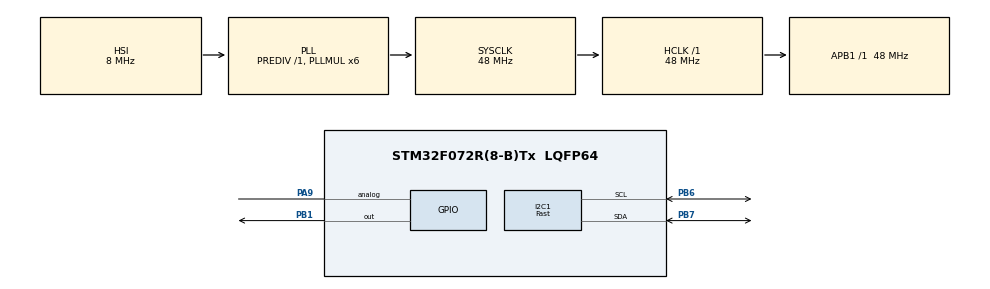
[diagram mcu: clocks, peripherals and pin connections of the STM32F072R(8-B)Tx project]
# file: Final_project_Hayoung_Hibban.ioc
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I2C1.I2C_Speed_Mode=I2C_Fast
I2C1.Timing=0x0000020B
Mcu.Family=STM32F0
Mcu.Name=STM32F072R(8-B)Tx
Mcu.Package=LQFP64
PA13.Mode=Serial_Wire
PA13.Signal=SYS_SWDIO
PA14.Mode=Serial_Wire
PA14.Signal=SYS_SWCLK
PA9.Signal=GPIO_Analog
PB1.Signal=GPIO_Output
PB6.Mode=I2C
PB6.Signal=I2C1_SCL
PB7.Mode=I2C
PB7.Signal=I2C1_SDA
PF0-OSC_IN.Mode=HSE-External-Oscillator
PF0-OSC_IN.Signal=RCC_OSC_IN
PF1-OSC_OUT.Mode=HSE-External-Oscillator
PF1-OSC_OUT.Signal=RCC_OSC_OUT
ProjectManager.HeapSize=0x200
ProjectManager.StackSize=0x400
ProjectManager.TargetToolchain=STM32CubeIDE
RCC.AHBFreq_Value=48000000
RCC.APB1Freq_Value=48000000
RCC.APB1TimFreq_Value=48000000
RCC.HCLKFreq_Value=48000000
RCC.PLLMUL=RCC_PLL_MUL6
RCC.SYSCLKFreq_VALUE=48000000
RCC.SYSCLKSource=RCC_SYSCLKSOURCE_PLLCLK
TIM1.Prescaler=47
VP_TIM1_VS_ClockSourceINT.Mode=Internal
board=STM32F072B-DISCO

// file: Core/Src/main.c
/* USER CODE BEGIN Header */
/**
  ******************************************************************************
  * @file           : main.c
  * @brief          : Main program body
  ******************************************************************************
  * @attention
  *
  * Copyright (c) 2022 STMicroelectronics.
  * All rights reserved.
  *
  * This software is licensed under terms that can be found in the LICENSE file
  * in the root directory of this software component.
  * If no LICENSE file comes with this software, it is provided AS-IS.
  *
  ******************************************************************************
  */
/* USER CODE END Header */
#include "main.h"

/* USER CODE BEGIN Includes */
#include "fonts.h"
#include "ssd1306.h"
#include "stdio.h"
/* USER CODE END Includes */

 I2C_HandleTypeDef hi2c1;

TIM_HandleTypeDef htim1;

/* USER CODE BEGIN PV */
#define GAS_PIN GPIO_PIN_9
#define GAS_PORT GPIOA
uint32_t pMillis;
uint32_t Value1 = 0;

uint16_t GAS  = 0;  // cm
char strCopy[15];
/* USER CODE END PV */

void SystemClock_Config(void);
static void MX_GPIO_Init(void);
static void MX_I2C1_Init(void);
static void MX_TIM1_Init(void);

int main(void)
{

  /* MCU Configuration--------------------------------------------------------*/

  /* Reset of all peripherals, Initializes the Flash interface and the Systick. */
  HAL_Init();

  /* Configure the system clock */
  SystemClock_Config();

  /* Initialize all configured peripherals */
  MX_GPIO_Init();
  MX_I2C1_Init();
  MX_TIM1_Init();
  /* USER CODE BEGIN 2 */
  HAL_TIM_Base_Start(&htim1);
     HAL_GPIO_WritePin(GAS_PORT, GAS_PIN, GPIO_PIN_RESET);  // pull the GAS pin low
     SSD1306_Init();
  /* USER CODE END 2 */

  /* Infinite loop */
  /* USER CODE BEGIN WHILE */
     while (1)
            {
              HAL_GPIO_WritePin(GAS_PORT, GAS_PIN, GPIO_PIN_SET);  // pull the GAS pin HIGH
              __HAL_TIM_SET_COUNTER(&htim1, 0);
              while (__HAL_TIM_GET_COUNTER (&htim1) < 10);  // wait for 10 us
              HAL_GPIO_WritePin(GAS_PORT, GAS_PIN, GPIO_PIN_RESET);  // pull the TRIG pin low

              pMillis = HAL_GetTick(); // used this to avoid infinite while loop  (for timeout)
              // wait for the echo pin to go high
              while (!(HAL_GPIO_ReadPin (GAS_PORT, GAS_PIN)) && pMillis + 10 >  HAL_GetTick());
              Value1 = __HAL_TIM_GET_COUNTER (&htim1);

              pMillis = HAL_GetTick(); // used this to avoid infinite while loop (for timeout)
              // wait for the echo pin to go low
              while ((HAL_GPIO_ReadPin (GAS_PORT, GAS_PIN)) && pMillis + 50 > HAL_GetTick());
              Value1 = __HAL_TIM_GET_COUNTER (&htim1);

              GAS = Value1/2;

              	 	 	 if (GAS < 6000)
                         {
                           HAL_GPIO_WritePin(GPIOB, GPIO_PIN_1, 0);
                           	   SSD1306_GotoXY (0, 0);
                                           SSD1306_Puts ("GAS:", &Font_11x18, 1);
                                           sprintf(strCopy,"%d    ",GAS);
                                           SSD1306_GotoXY (0, 30);
                                           SSD1306_Puts (strCopy, &Font_16x26, 1);
                                           SSD1306_UpdateScreen();
                         }

                         else
                         {
                           HAL_GPIO_WritePin(GPIOB, GPIO_PIN_1, 1);
                           	   SSD1306_GotoXY (0, 0);
                                           SSD1306_Puts ("GAS: Go Out", &Font_11x18, 1);
                                           sprintf(strCopy,"%d    ",GAS);
                                           SSD1306_GotoXY (0, 30);
                                           SSD1306_Puts (strCopy, &Font_16x26, 1);
                                           SSD1306_UpdateScreen();
                         }

              HAL_Delay(50);
    /* USER CODE END WHILE */

  }
}

void SystemClock_Config(void)
{
  RCC_OscInitTypeDef RCC_OscInitStruct = {0};
  RCC_ClkInitTypeDef RCC_ClkInitStruct = {0};
  RCC_PeriphCLKInitTypeDef PeriphClkInit = {0};

  /** Initializes the RCC Oscillators according to the specified parameters
  * in the RCC_OscInitTypeDef structure.
  */
  RCC_OscInitStruct.OscillatorType = RCC_OSCILLATORTYPE_HSI;
  RCC_OscInitStruct.HSIState = RCC_HSI_ON;
  RCC_OscInitStruct.HSICalibrationValue = RCC_HSICALIBRATION_DEFAULT;
  RCC_OscInitStruct.PLL.PLLState = RCC_PLL_ON;
  RCC_OscInitStruct.PLL.PLLSource = RCC_PLLSOURCE_HSI;
  RCC_OscInitStruct.PLL.PLLMUL = RCC_PLL_MUL6;
  RCC_OscInitStruct.PLL.PREDIV = RCC_PREDIV_DIV1;
  if (HAL_RCC_OscConfig(&RCC_OscInitStruct) != HAL_OK)
  {
    Error_Handler();
  }

  /** Initializes the CPU, AHB and APB buses clocks
  */
  RCC_ClkInitStruct.ClockType = RCC_CLOCKTYPE_HCLK|RCC_CLOCKTYPE_SYSCLK
                              |RCC_CLOCKTYPE_PCLK1;
  RCC_ClkInitStruct.SYSCLKSource = RCC_SYSCLKSOURCE_PLLCLK;
  RCC_ClkInitStruct.AHBCLKDivider = RCC_SYSCLK_DIV1;
  RCC_ClkInitStruct.APB1CLKDivider = RCC_HCLK_DIV1;

  if (HAL_RCC_ClockConfig(&RCC_ClkInitStruct, FLASH_LATENCY_1) != HAL_OK)
  {
    Error_Handler();
  }
  PeriphClkInit.PeriphClockSelection = RCC_PERIPHCLK_I2C1;
  PeriphClkInit.I2c1ClockSelection = RCC_I2C1CLKSOURCE_HSI;
  if (HAL_RCCEx_PeriphCLKConfig(&PeriphClkInit) != HAL_OK)
  {
    Error_Handler();
  }
}

static void MX_I2C1_Init(void)
{

  hi2c1.Instance = I2C1;
  hi2c1.Init.Timing = 0x0000020B;
  hi2c1.Init.OwnAddress1 = 0;
  hi2c1.Init.AddressingMode = I2C_ADDRESSINGMODE_7BIT;
  hi2c1.Init.DualAddressMode = I2C_DUALADDRESS_DISABLE;
  hi2c1.Init.OwnAddress2 = 0;
  hi2c1.Init.OwnAddress2Masks = I2C_OA2_NOMASK;
  hi2c1.Init.GeneralCallMode = I2C_GENERALCALL_DISABLE;
  hi2c1.Init.NoStretchMode = I2C_NOSTRETCH_DISABLE;
  if (HAL_I2C_Init(&hi2c1) != HAL_OK)
  {
    Error_Handler();
  }

  /** Configure Analogue filter
  */
  if (HAL_I2CEx_ConfigAnalogFilter(&hi2c1, I2C_ANALOGFILTER_ENABLE) != HAL_OK)
  {
    Error_Handler();
  }

  /** Configure Digital filter
  */
  if (HAL_I2CEx_ConfigDigitalFilter(&hi2c1, 0) != HAL_OK)
  {
    Error_Handler();
  }

}

static void MX_TIM1_Init(void)
{

  TIM_ClockConfigTypeDef sClockSourceConfig = {0};
  TIM_MasterConfigTypeDef sMasterConfig = {0};

  htim1.Instance = TIM1;
  htim1.Init.Prescaler = 47;
  htim1.Init.CounterMode = TIM_COUNTERMODE_UP;
  htim1.Init.Period = 65535;
  htim1.Init.ClockDivision = TIM_CLOCKDIVISION_DIV1;
  htim1.Init.RepetitionCounter = 0;
  htim1.Init.AutoReloadPreload = TIM_AUTORELOAD_PRELOAD_DISABLE;
  if (HAL_TIM_Base_Init(&htim1) != HAL_OK)
  {
    Error_Handler();
  }
  sClockSourceConfig.ClockSource = TIM_CLOCKSOURCE_INTERNAL;
  if (HAL_TIM_ConfigClockSource(&htim1, &sClockSourceConfig) != HAL_OK)
  {
    Error_Handler();
  }
  sMasterConfig.MasterOutputTrigger = TIM_TRGO_RESET;
  sMasterConfig.MasterSlaveMode = TIM_MASTERSLAVEMODE_DISABLE;
  if (HAL_TIMEx_MasterConfigSynchronization(&htim1, &sMasterConfig) != HAL_OK)
  {
    Error_Handler();
  }

}

static void MX_GPIO_Init(void)
{
  GPIO_InitTypeDef GPIO_InitStruct = {0};

  /* GPIO Ports Clock Enable */
  __HAL_RCC_GPIOF_CLK_ENABLE();
  __HAL_RCC_GPIOB_CLK_ENABLE();
  __HAL_RCC_GPIOA_CLK_ENABLE();

  /*Configure GPIO pin Output Level */
  HAL_GPIO_WritePin(GPIOB, GPIO_PIN_1, GPIO_PIN_RESET);

  /*Configure GPIO pin : PB1 */
  GPIO_InitStruct.Pin = GPIO_PIN_1;
  GPIO_InitStruct.Mode = GPIO_MODE_OUTPUT_PP;
  GPIO_InitStruct.Pull = GPIO_NOPULL;
  GPIO_InitStruct.Speed = GPIO_SPEED_FREQ_LOW;
  HAL_GPIO_Init(GPIOB, &GPIO_InitStruct);

  /*Configure GPIO pin : PA9 */
  GPIO_InitStruct.Pin = GPIO_PIN_9;
  GPIO_InitStruct.Mode = GPIO_MODE_ANALOG;
  GPIO_InitStruct.Pull = GPIO_NOPULL;
  HAL_GPIO_Init(GPIOA, &GPIO_InitStruct);

}

void Error_Handler(void)
{
  __disable_irq();
  while (1)
  {
  }
}
